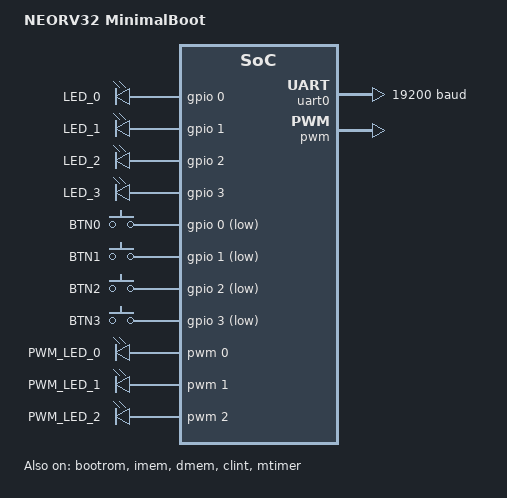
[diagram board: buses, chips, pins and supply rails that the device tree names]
/*
 * Copyright (c) 2025 Henrik Brix Andersen <henrik@brixandersen.dk>
 *
 * SPDX-License-Identifier: Apache-2.0
 */

/dts-v1/;

#include <neorv32.dtsi>
#include <mem.h>
#include <zephyr/dt-bindings/input/input-event-codes.h>

/ {
	model = "NEORV32 MinimalBoot";
	compatible = "neorv32";

	aliases {
		led0 = &led0;
		led1 = &led1;
		led2 = &led2;
		led3 = &led3;
		pwm-led0 = &pwm_led0;
		pwm-led1 = &pwm_led1;
		pwm-led2 = &pwm_led2;
		sw0 = &btn0;
		sw1 = &btn1;
		sw3 = &btn2;
		sw4 = &btn3;
	};

	chosen {
		zephyr,flash = &imem;
		zephyr,sram = &dmem;
		zephyr,console = &uart0;
		zephyr,shell-uart = &uart0;
		zephyr,uart-pipe = &uart0;
	};

	leds {
		compatible = "gpio-leds";

		led0: led0 {
			gpios = <&gpio 0 GPIO_ACTIVE_HIGH>;
			label = "LED_0";
		};

		led1: led1 {
			gpios = <&gpio 1 GPIO_ACTIVE_HIGH>;
			label = "LED_1";
		};

		led2: led2 {
			gpios = <&gpio 2 GPIO_ACTIVE_HIGH>;
			label = "LED_2";
		};

		led3: led3 {
			gpios = <&gpio 3 GPIO_ACTIVE_HIGH>;
			label = "LED_3";
		};
	};

	gpio_keys {
		compatible = "gpio-keys";

		btn0: btn0 {
			label = "BTN0";
			gpios = <&gpio 0 GPIO_ACTIVE_LOW>;
			zephyr,code = <INPUT_KEY_0>;
		};

		btn1: btn1 {
			label = "BTN1";
			gpios = <&gpio 1 GPIO_ACTIVE_LOW>;
			zephyr,code = <INPUT_KEY_1>;
		};

		btn2: btn2 {
			label = "BTN2";
			gpios = <&gpio 2 GPIO_ACTIVE_LOW>;
			zephyr,code = <INPUT_KEY_2>;
		};

		btn3: btn3 {
			label = "BTN3";
			gpios = <&gpio 3 GPIO_ACTIVE_LOW>;
			zephyr,code = <INPUT_KEY_3>;
		};
	};

	pwmleds {
		compatible = "pwm-leds";

		pwm_led0: pwm_led0 {
			pwms = <&pwm 0 PWM_MSEC(20) PWM_POLARITY_NORMAL>;
			label = "PWM_LED_0";
		};

		pwm_led1: pwm_led1 {
			pwms = <&pwm 1 PWM_MSEC(20) PWM_POLARITY_NORMAL>;
			label = "PWM_LED_1";
		};

		pwm_led2: pwm_led2 {
			pwms = <&pwm 2 PWM_MSEC(20) PWM_POLARITY_NORMAL>;
			label = "PWM_LED_2";
		};
	};
};

&cpu0 {
	riscv,isa = "rv32i_zicsr_zifencei";
};

&bootrom {
	status = "okay";
};

&imem {
	status = "okay";
	reg = <0x0 DT_SIZE_K(64)>;
};

&dmem {
	status = "okay";
	reg = <0x80000000 DT_SIZE_K(64)>;
};

&clint {
	status = "okay";
};

&mtimer {
	status = "okay";
};

&uart0 {
	status = "okay";
	current-speed = <19200>;
};

&gpio {
	status = "okay";
	ngpios = <4>;
};

&pwm {
	status = "okay";
};
